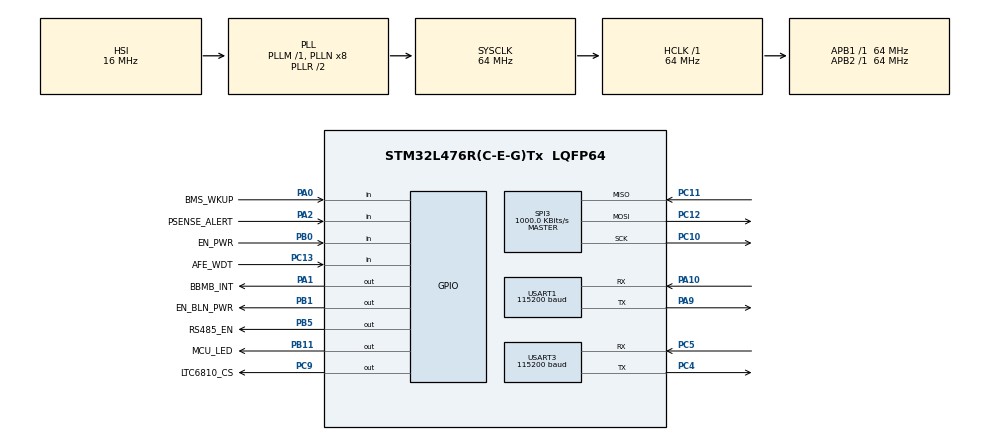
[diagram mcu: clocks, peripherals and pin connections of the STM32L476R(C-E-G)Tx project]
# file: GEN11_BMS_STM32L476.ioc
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CRC.InputDataFormat=CRC_INPUTDATA_FORMAT_WORDS
CRC.InputDataInversionMode=CRC_INPUTDATA_INVERSION_NONE
CRC.OutputDataInversionMode=CRC_OUTPUTDATA_INVERSION_DISABLE
Dma.Request0=USART1_RX
Dma.Request1=USART1_TX
Dma.USART1_RX.0.Direction=DMA_PERIPH_TO_MEMORY
Dma.USART1_RX.0.Instance=DMA1_Channel5
Dma.USART1_RX.0.MemDataAlignment=DMA_MDATAALIGN_BYTE
Dma.USART1_RX.0.MemInc=DMA_MINC_ENABLE
Dma.USART1_RX.0.Mode=DMA_CIRCULAR
Dma.USART1_RX.0.PeriphDataAlignment=DMA_PDATAALIGN_BYTE
Dma.USART1_RX.0.PeriphInc=DMA_PINC_DISABLE
Dma.USART1_RX.0.Priority=DMA_PRIORITY_HIGH
Dma.USART1_TX.1.Direction=DMA_MEMORY_TO_PERIPH
Dma.USART1_TX.1.Instance=DMA1_Channel4
Dma.USART1_TX.1.MemDataAlignment=DMA_MDATAALIGN_BYTE
Dma.USART1_TX.1.MemInc=DMA_MINC_ENABLE
Dma.USART1_TX.1.Mode=DMA_NORMAL
Dma.USART1_TX.1.PeriphDataAlignment=DMA_PDATAALIGN_BYTE
Dma.USART1_TX.1.PeriphInc=DMA_PINC_DISABLE
Dma.USART1_TX.1.Priority=DMA_PRIORITY_HIGH
FREERTOS.INCLUDE_vTaskDelayUntil=1
FREERTOS.INCLUDE_xTaskGetCurrentTaskHandle=1
FREERTOS.INCLUDE_xTaskGetHandle=1
FREERTOS.Tasks01=defaultTask,0,512,StartDefaultTask,Default,NULL,Dynamic,NULL,NULL
FREERTOS.configMAX_TASK_NAME_LEN=32
FREERTOS.configMINIMAL_STACK_SIZE=512
FREERTOS.configTIMER_TASK_PRIORITY=5
FREERTOS.configTOTAL_HEAP_SIZE=25000
FREERTOS.configUSE_COUNTING_SEMAPHORES=1
FREERTOS.configUSE_NEWLIB_REENTRANT=1
FREERTOS.configUSE_TIMERS=1
Mcu.Family=STM32L4
Mcu.Name=STM32L476R(C-E-G)Tx
Mcu.Package=LQFP64
NVIC.DMA1_Channel4_IRQn=true\:5\:0\:false\:false\:true\:true\:false\:true\:true
NVIC.DMA1_Channel5_IRQn=true\:5\:0\:false\:false\:true\:true\:false\:true\:true
NVIC.PriorityGroup=NVIC_PRIORITYGROUP_4
NVIC.TIM6_DAC_IRQn=true\:15\:0\:false\:false\:true\:false\:false\:true\:true
NVIC.TIM7_IRQn=true\:5\:0\:false\:false\:true\:true\:true\:true\:true
NVIC.TimeBase=TIM6_DAC_IRQn
NVIC.TimeBaseIP=TIM6
NVIC.USART1_IRQn=true\:5\:0\:false\:false\:true\:true\:true\:true\:true
NVIC.USART3_IRQn=true\:5\:0\:false\:false\:true\:true\:true\:true\:true
PA0.GPIO_Label=BMS_WKUP
PA0.Signal=GPIO_Input
PA1.GPIO_Label=BBMB_INT
PA1.Signal=GPIO_Output
PA10.Mode=Asynchronous
PA10.Signal=USART1_RX
PA14\ (JTCK-SWCLK).Signal=SYS_JTCK-SWCLK
PA15\ (JTDI).Signal=SYS_JTDI
PA2.GPIO_Label=PSENSE_ALERT
PA2.Signal=GPIO_Input
PA9.Mode=Asynchronous
PA9.Signal=USART1_TX
PB0.GPIO_Label=EN_PWR
PB0.Signal=GPIO_Input
PB1.GPIO_Label=EN_BLN_PWR
PB1.Signal=GPIO_Output
PB11.GPIO_Label=MCU_LED
PB11.Signal=GPIO_Output
PB3\ (JTDO-TRACESWO).Signal=SYS_JTDO-SWO
PB4\ (NJTRST).Signal=SYS_JTRST
PB5.GPIO_Label=RS485_EN
PB5.Signal=GPIO_Output
PC10.Mode=Full_Duplex_Master
PC10.Signal=SPI3_SCK
PC11.Mode=Full_Duplex_Master
PC11.Signal=SPI3_MISO
PC12.Mode=Full_Duplex_Master
PC12.Signal=SPI3_MOSI
PC13.GPIO_Label=AFE_WDT
PC13.Signal=GPIO_Input
PC4.Mode=Asynchronous
PC4.Signal=USART3_TX
PC5.Mode=Asynchronous
PC5.Signal=USART3_RX
PC9.GPIO_Label=LTC6810_CS
PC9.Signal=GPIO_Output
ProjectManager.HeapSize=0x200
ProjectManager.StackSize=0x400
ProjectManager.TargetToolchain=STM32CubeIDE
RCC.ADCFreq_Value=64000000
RCC.AHBFreq_Value=64000000
RCC.APB1Freq_Value=64000000
RCC.APB1TimFreq_Value=64000000
RCC.APB2Freq_Value=64000000
RCC.APB2TimFreq_Value=64000000
RCC.CortexFreq_Value=64000000
RCC.HCLKFreq_Value=64000000
RCC.HSE_VALUE=8000000
RCC.HSI_VALUE=16000000
RCC.LSE_VALUE=32768
RCC.MSI_VALUE=4000000
RCC.PLLSourceVirtual=RCC_PLLSOURCE_HSI
RCC.SYSCLKFreq_VALUE=64000000
RCC.SYSCLKSource=RCC_SYSCLKSOURCE_PLLCLK
RCC.USBFreq_Value=64000000
RCC.VCOOutputFreq_Value=128000000
SPI3.BaudRatePrescaler=SPI_BAUDRATEPRESCALER_64
SPI3.CLKPhase=SPI_PHASE_2EDGE
SPI3.CLKPolarity=SPI_POLARITY_HIGH
SPI3.CalculateBaudRate=1000.0 KBits/s
SPI3.DataSize=SPI_DATASIZE_8BIT
SPI3.Direction=SPI_DIRECTION_2LINES
SPI3.Mode=SPI_MODE_MASTER
SPI3.VirtualType=VM_MASTER
TIM7.AutoReloadPreload=TIM_AUTORELOAD_PRELOAD_ENABLE
TIM7.Period=2000
TIM7.Prescaler=64000
USART1.AutoBaudRateEnableParam=UART_ADVFEATURE_AUTOBAUDRATE_DISABLE
USART1.BaudRate=115200
USART1.VirtualMode-Asynchronous=VM_ASYNC
USART3.BaudRate=115200
USART3.VirtualMode-Asynchronous=VM_ASYNC
VP_CRC_VS_CRC.Mode=CRC_Activate
VP_FREERTOS_VS_CMSIS_V1.Mode=CMSIS_V1
VP_SYS_VS_tim6.Mode=TIM6
VP_TIM7_VS_ClockSourceINT.Mode=Enable_Timer
board=custom

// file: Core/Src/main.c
/* USER CODE BEGIN Header */
/**
  ******************************************************************************
  * @file           : main.c
  * @brief          : Main program body
  ******************************************************************************
  * @attention
  *
  * Copyright (c) 2022 STMicroelectronics.
  * All rights reserved.
  *
  * This software is licensed under terms that can be found in the LICENSE file
  * in the root directory of this software component.
  * If no LICENSE file comes with this software, it is provided AS-IS.
  *
  ******************************************************************************
  */
/* USER CODE END Header */
#include "main.h"
#include "cmsis_os.h"

/* USER CODE BEGIN Includes */
#include "buart.h"
#include "btcp.h"
#include "protocol_ids.h"
#include "batteryEKF.h"
#include "timers.h"
#include "bms.h"

/* USER CODE END Includes */

/* USER CODE BEGIN PD */
// -------------- NEED TO UPDATE FOR EVERY BMS BEFORE FLASHING --------------//
#define THIS_MODULE_ID 0
// ^^^^^^^^^^^^^^ NEED TO UPDATE FOR EVERY BMS BEFORE FLASHING ^^^^^^^^^^^^^^//

#define NUM_CELLS 5 //have to make sure is the same as NUM_14P_UNITS in batteryEKF.h
#define NUM_TEMP_SENSE 3
#define TEMP_CORRECTION_MULTIPLIER 1.0
#define TEMP_CORRECTION_OFFSET 0.0
#define SEND_PERIOD 200
#define MEAS_PERIOD 200

#define TCP_ID BMS_ID
#define LTC6810_INTERVAL 100 //Interval of reading LTC6810 measurements

#define PWR_EN_HACK 1 //Hack where the gate of Q3 is connected to 12V to only turn on Q2 when 12V is present. Also, EN_PWR is set as an input instead of output as it should.
/* USER CODE END PD */

 CRC_HandleTypeDef hcrc;

SPI_HandleTypeDef hspi3;

TIM_HandleTypeDef htim7;

UART_HandleTypeDef huart1;
UART_HandleTypeDef huart3;
DMA_HandleTypeDef hdma_usart1_rx;
DMA_HandleTypeDef hdma_usart1_tx;

osThreadId defaultTaskHandle;
/* USER CODE BEGIN PV */
B_uartHandle_t* buart;
B_tcpHandle_t* btcp;
Bms bms;

//--- SOC ---//
EKF_Battery inBattery;
long tickLastMeasurement[NUM_CELLS]; //Contains the tick value of the last measurement sent for every cell

uint8_t dataToSend[16]; //data organized by function [LTC6810CommandGenerate]
int messageInBinary; //write this in binary. This goes into [LTC6810CommandGenerate]
uint8_t dataToReceive[8] = { 0, 0, 0, 0, 0, 0, 0, 0 };//voltage data from LTC6810 via SPI
/* USER CODE END PV */

void SystemClock_Config(void);
static void MX_GPIO_Init(void);
static void MX_DMA_Init(void);
static void MX_TIM7_Init(void);
static void MX_CRC_Init(void);
static void MX_USART1_UART_Init(void);
static void MX_SPI3_Init(void);
static void MX_USART3_UART_Init(void);
void StartDefaultTask(void const * argument);

/* USER CODE BEGIN 0 */
// For Testing only
//void btcp_sent_thread(void* parameters) {
//	while(1) {
//		uint8_t msg[] = {1, 2, 3, 4};
//		B_tcpSend(btcp, msg, sizeof(msg));
//	}
//}
/* USER CODE END 0 */

int main(void)
{

  /* MCU Configuration--------------------------------------------------------*/

  /* Reset of all peripherals, Initializes the Flash interface and the Systick. */
  HAL_Init();

  /* Configure the system clock */
  SystemClock_Config();

  /* Initialize all configured peripherals */
  MX_GPIO_Init();
  MX_DMA_Init();
  MX_TIM7_Init();
  MX_CRC_Init();
  MX_USART1_UART_Init();
  MX_SPI3_Init();
  MX_USART3_UART_Init();
  /* USER CODE BEGIN 2 */

  //--- MCU OK LED ---//
  NVIC_EnableIRQ(TIM7_IRQn);
  HAL_TIM_Base_Start_IT((TIM_HandleTypeDef*) &htim7); //Blink LED to show that CPU is still alive

  //--- FREERTOS ---//

  /* USER CODE END 2 */

  /* USER CODE BEGIN RTOS_QUEUES */
  /* add queues, ... */
//#define DEFAULT_TASK
#ifdef DEFAULT_TASK

  /* USER CODE END RTOS_QUEUES */

  /* Create the thread(s) */
  /* definition and creation of defaultTask */
  osThreadDef(defaultTask, StartDefaultTask, osPriorityNormal, 0, 512);
  defaultTaskHandle = osThreadCreate(osThread(defaultTask), NULL);

  /* USER CODE BEGIN RTOS_THREADS */
  /* add threads, ... */
#endif
  //--- COMMS ---//
  buart = B_uartStart(&huart1);
  btcp = B_tcpStart(BMS_ID, &buart, buart, 1, &hcrc);

  GPIO_TypeDef* spi_cs_ports[] = {[0 ... (BMS_NUM_BMS_MODULES-1)] = GPIOC};
  uint16_t spi_cs_pins[] = {[0 ... (BMS_NUM_BMS_MODULES-1)] = GPIO_PIN_9};

  // Initialize and run bms
  bms_init(&bms, &hspi3, spi_cs_ports, spi_cs_pins);
  bms.run(&bms);

// For testing only
//  TaskHandle_t t = NULL;
//	BaseType_t status = xTaskCreate(
//			btcp_sent_thread,  //Function that implements the task.
//			"btcp test run thread",  //Text name for the task.
//			500, 		 //256 words *4(bytes/word) = 1024 bytes allocated for task's stack (note even this size is unnecessary as this thread barely creates any variables)
//			NULL,  //Parameter passed into the task.
//			4,  //Priority at which the task is created.
//			&t//Used to pass out the created task's handle.
//		);
//	configASSERT(status == pdPASS);	// Error checking

  /* USER CODE END RTOS_THREADS */

  /* Start scheduler */
  osKernelStart();

  /* We should never get here as control is now taken by the scheduler */
  /* Infinite loop */
  while (1)
  {

  }
}

void SystemClock_Config(void)
{
  RCC_OscInitTypeDef RCC_OscInitStruct = {0};
  RCC_ClkInitTypeDef RCC_ClkInitStruct = {0};

  /** Configure the main internal regulator output voltage
  */
  if (HAL_PWREx_ControlVoltageScaling(PWR_REGULATOR_VOLTAGE_SCALE1) != HAL_OK)
  {
    Error_Handler();
  }

  /** Initializes the RCC Oscillators according to the specified parameters
  * in the RCC_OscInitTypeDef structure.
  */
  RCC_OscInitStruct.OscillatorType = RCC_OSCILLATORTYPE_HSI;
  RCC_OscInitStruct.HSIState = RCC_HSI_ON;
  RCC_OscInitStruct.HSICalibrationValue = RCC_HSICALIBRATION_DEFAULT;
  RCC_OscInitStruct.PLL.PLLState = RCC_PLL_ON;
  RCC_OscInitStruct.PLL.PLLSource = RCC_PLLSOURCE_HSI;
  RCC_OscInitStruct.PLL.PLLM = 1;
  RCC_OscInitStruct.PLL.PLLN = 8;
  RCC_OscInitStruct.PLL.PLLP = RCC_PLLP_DIV7;
  RCC_OscInitStruct.PLL.PLLQ = RCC_PLLQ_DIV2;
  RCC_OscInitStruct.PLL.PLLR = RCC_PLLR_DIV2;
  if (HAL_RCC_OscConfig(&RCC_OscInitStruct) != HAL_OK)
  {
    Error_Handler();
  }

  /** Initializes the CPU, AHB and APB buses clocks
  */
  RCC_ClkInitStruct.ClockType = RCC_CLOCKTYPE_HCLK|RCC_CLOCKTYPE_SYSCLK
                              |RCC_CLOCKTYPE_PCLK1|RCC_CLOCKTYPE_PCLK2;
  RCC_ClkInitStruct.SYSCLKSource = RCC_SYSCLKSOURCE_PLLCLK;
  RCC_ClkInitStruct.AHBCLKDivider = RCC_SYSCLK_DIV1;
  RCC_ClkInitStruct.APB1CLKDivider = RCC_HCLK_DIV1;
  RCC_ClkInitStruct.APB2CLKDivider = RCC_HCLK_DIV1;

  if (HAL_RCC_ClockConfig(&RCC_ClkInitStruct, FLASH_LATENCY_3) != HAL_OK)
  {
    Error_Handler();
  }
}

static void MX_CRC_Init(void)
{

  hcrc.Instance = CRC;
  hcrc.Init.DefaultPolynomialUse = DEFAULT_POLYNOMIAL_ENABLE;
  hcrc.Init.DefaultInitValueUse = DEFAULT_INIT_VALUE_ENABLE;
  hcrc.Init.InputDataInversionMode = CRC_INPUTDATA_INVERSION_NONE;
  hcrc.Init.OutputDataInversionMode = CRC_OUTPUTDATA_INVERSION_DISABLE;
  hcrc.InputDataFormat = CRC_INPUTDATA_FORMAT_WORDS;
  if (HAL_CRC_Init(&hcrc) != HAL_OK)
  {
    Error_Handler();
  }

}

static void MX_SPI3_Init(void)
{

  /* SPI3 parameter configuration*/
  hspi3.Instance = SPI3;
  hspi3.Init.Mode = SPI_MODE_MASTER;
  hspi3.Init.Direction = SPI_DIRECTION_2LINES;
  hspi3.Init.DataSize = SPI_DATASIZE_8BIT;
  hspi3.Init.CLKPolarity = SPI_POLARITY_HIGH;
  hspi3.Init.CLKPhase = SPI_PHASE_2EDGE;
  hspi3.Init.NSS = SPI_NSS_SOFT;
  hspi3.Init.BaudRatePrescaler = SPI_BAUDRATEPRESCALER_64;
  hspi3.Init.FirstBit = SPI_FIRSTBIT_MSB;
  hspi3.Init.TIMode = SPI_TIMODE_DISABLE;
  hspi3.Init.CRCCalculation = SPI_CRCCALCULATION_DISABLE;
  hspi3.Init.CRCPolynomial = 7;
  hspi3.Init.CRCLength = SPI_CRC_LENGTH_DATASIZE;
  hspi3.Init.NSSPMode = SPI_NSS_PULSE_DISABLE;
  if (HAL_SPI_Init(&hspi3) != HAL_OK)
  {
    Error_Handler();
  }

}

static void MX_TIM7_Init(void)
{

  TIM_MasterConfigTypeDef sMasterConfig = {0};

  htim7.Instance = TIM7;
  htim7.Init.Prescaler = 64000;
  htim7.Init.CounterMode = TIM_COUNTERMODE_UP;
  htim7.Init.Period = 2000;
  htim7.Init.AutoReloadPreload = TIM_AUTORELOAD_PRELOAD_ENABLE;
  if (HAL_TIM_Base_Init(&htim7) != HAL_OK)
  {
    Error_Handler();
  }
  sMasterConfig.MasterOutputTrigger = TIM_TRGO_RESET;
  sMasterConfig.MasterSlaveMode = TIM_MASTERSLAVEMODE_DISABLE;
  if (HAL_TIMEx_MasterConfigSynchronization(&htim7, &sMasterConfig) != HAL_OK)
  {
    Error_Handler();
  }

}

static void MX_USART1_UART_Init(void)
{

  huart1.Instance = USART1;
  huart1.Init.BaudRate = 115200;
  huart1.Init.WordLength = UART_WORDLENGTH_8B;
  huart1.Init.StopBits = UART_STOPBITS_1;
  huart1.Init.Parity = UART_PARITY_NONE;
  huart1.Init.Mode = UART_MODE_TX_RX;
  huart1.Init.HwFlowCtl = UART_HWCONTROL_NONE;
  huart1.Init.OverSampling = UART_OVERSAMPLING_16;
  huart1.Init.OneBitSampling = UART_ONE_BIT_SAMPLE_DISABLE;
  huart1.AdvancedInit.AdvFeatureInit = UART_ADVFEATURE_NO_INIT;
  if (HAL_UART_Init(&huart1) != HAL_OK)
  {
    Error_Handler();
  }

}

static void MX_USART3_UART_Init(void)
{

  huart3.Instance = USART3;
  huart3.Init.BaudRate = 115200;
  huart3.Init.WordLength = UART_WORDLENGTH_8B;
  huart3.Init.StopBits = UART_STOPBITS_1;
  huart3.Init.Parity = UART_PARITY_NONE;
  huart3.Init.Mode = UART_MODE_TX_RX;
  huart3.Init.HwFlowCtl = UART_HWCONTROL_NONE;
  huart3.Init.OverSampling = UART_OVERSAMPLING_16;
  huart3.Init.OneBitSampling = UART_ONE_BIT_SAMPLE_DISABLE;
  huart3.AdvancedInit.AdvFeatureInit = UART_ADVFEATURE_NO_INIT;
  if (HAL_UART_Init(&huart3) != HAL_OK)
  {
    Error_Handler();
  }

}

static void MX_DMA_Init(void)
{

  /* DMA controller clock enable */
  __HAL_RCC_DMA1_CLK_ENABLE();

  /* DMA interrupt init */
  /* DMA1_Channel4_IRQn interrupt configuration */
  HAL_NVIC_SetPriority(DMA1_Channel4_IRQn, 5, 0);
  HAL_NVIC_EnableIRQ(DMA1_Channel4_IRQn);
  /* DMA1_Channel5_IRQn interrupt configuration */
  HAL_NVIC_SetPriority(DMA1_Channel5_IRQn, 5, 0);
  HAL_NVIC_EnableIRQ(DMA1_Channel5_IRQn);

}

static void MX_GPIO_Init(void)
{
  GPIO_InitTypeDef GPIO_InitStruct = {0};

  /* GPIO Ports Clock Enable */
  __HAL_RCC_GPIOC_CLK_ENABLE();
  __HAL_RCC_GPIOA_CLK_ENABLE();
  __HAL_RCC_GPIOB_CLK_ENABLE();

  /*Configure GPIO pin Output Level */
  HAL_GPIO_WritePin(BBMB_INT_GPIO_Port, BBMB_INT_Pin, GPIO_PIN_RESET);

  /*Configure GPIO pin Output Level */
  HAL_GPIO_WritePin(GPIOB, EN_BLN_PWR_Pin|MCU_LED_Pin|RS485_EN_Pin, GPIO_PIN_RESET);

  /*Configure GPIO pin Output Level */
  HAL_GPIO_WritePin(LTC6810_CS_GPIO_Port, LTC6810_CS_Pin, GPIO_PIN_RESET);

  /*Configure GPIO pin : AFE_WDT_Pin */
  GPIO_InitStruct.Pin = AFE_WDT_Pin;
  GPIO_InitStruct.Mode = GPIO_MODE_INPUT;
  GPIO_InitStruct.Pull = GPIO_NOPULL;
  HAL_GPIO_Init(AFE_WDT_GPIO_Port, &GPIO_InitStruct);

  /*Configure GPIO pins : BMS_WKUP_Pin PSENSE_ALERT_Pin */
  GPIO_InitStruct.Pin = BMS_WKUP_Pin|PSENSE_ALERT_Pin;
  GPIO_InitStruct.Mode = GPIO_MODE_INPUT;
  GPIO_InitStruct.Pull = GPIO_NOPULL;
  HAL_GPIO_Init(GPIOA, &GPIO_InitStruct);

  /*Configure GPIO pin : BBMB_INT_Pin */
  GPIO_InitStruct.Pin = BBMB_INT_Pin;
  GPIO_InitStruct.Mode = GPIO_MODE_OUTPUT_PP;
  GPIO_InitStruct.Pull = GPIO_NOPULL;
  GPIO_InitStruct.Speed = GPIO_SPEED_FREQ_LOW;
  HAL_GPIO_Init(BBMB_INT_GPIO_Port, &GPIO_InitStruct);

  /*Configure GPIO pin : EN_PWR_Pin */
  GPIO_InitStruct.Pin = EN_PWR_Pin;
  GPIO_InitStruct.Mode = GPIO_MODE_INPUT;
  GPIO_InitStruct.Pull = GPIO_NOPULL;
  HAL_GPIO_Init(EN_PWR_GPIO_Port, &GPIO_InitStruct);

  /*Configure GPIO pins : EN_BLN_PWR_Pin MCU_LED_Pin RS485_EN_Pin */
  GPIO_InitStruct.Pin = EN_BLN_PWR_Pin|MCU_LED_Pin|RS485_EN_Pin;
  GPIO_InitStruct.Mode = GPIO_MODE_OUTPUT_PP;
  GPIO_InitStruct.Pull = GPIO_NOPULL;
  GPIO_InitStruct.Speed = GPIO_SPEED_FREQ_LOW;
  HAL_GPIO_Init(GPIOB, &GPIO_InitStruct);

  /*Configure GPIO pin : LTC6810_CS_Pin */
  GPIO_InitStruct.Pin = LTC6810_CS_Pin;
  GPIO_InitStruct.Mode = GPIO_MODE_OUTPUT_PP;
  GPIO_InitStruct.Pull = GPIO_NOPULL;
  GPIO_InitStruct.Speed = GPIO_SPEED_FREQ_LOW;
  HAL_GPIO_Init(LTC6810_CS_GPIO_Port, &GPIO_InitStruct);

}

/* USER CODE BEGIN 4 */
void serialParse(B_tcpPacket_t *pkt){
	switch(pkt->senderID){
	  case BBMB_ID: //Parse data from BBMB

		  if (pkt->data[0] == BBMB_BMS_DATA_REQUEST_ID) {

			  // Update Current variable
			  float current = arrayToFloat(pkt->data + 4);
			  bms.set_current(&bms, current);

			  int module_id = pkt->data[1];

			  if (module_id == THIS_MODULE_ID) {
				  /* ================= SOC =================== */
				  float state_of_charges[BMS_MODULE_NUM_STATE_OF_CHARGES];
				  if (bms.get_state_of_charge(&bms, state_of_charges, module_id)) {
					  // Not sure which Module only has 4 cells, commented out for now, assuming they all have 5.
					  // Module x has only 4 cells, so we place a fake SoC of 1.5 (so stategy app can detect it and ignore it) so displays doesn't show the wrong SoC
					  // add fake values for modules missing one cell
					  if (module_id == 5) state_of_charges[4] = 1.5;

					  // Pack state_of_charges into array of uint8_t to be sent to BBMB
					  uint8_t buf_soc[4 + BMS_MODULE_NUM_STATE_OF_CHARGES*sizeof(float)];	//[DATA ID, MODULE ID, SoC group #0, SoC group #1, ... , SoC group #4]
					  buf_soc[0] = BMS_CELL_SOC_ID;
					  buf_soc[1] = module_id;
					  for (int i = 0; i < BMS_MODULE_NUM_STATE_OF_CHARGES; i++)
						  floatToArray(state_of_charges[i], buf_soc + (i + 1) * sizeof(float));
					  HAL_GPIO_WritePin(RS485_EN_GPIO_Port, RS485_EN_Pin, GPIO_PIN_SET); //Enable RS485 driver
					  B_tcpSendBlocking(btcp, buf_soc, sizeof(buf_soc));
					  HAL_GPIO_WritePin(RS485_EN_GPIO_Port, RS485_EN_Pin, GPIO_PIN_RESET); //Disable RS485 driver
				  }

				  /* =============== Temperature ================= */
				  float temperatures[BMS_MODULE_NUM_TEMPERATURES];
				  if (bms.get_temperature(&bms, temperatures, module_id, GET_PAST_AVERAGE)) {
					  uint8_t buf_temp[4 + BMS_MODULE_NUM_TEMPERATURES*sizeof(float)];
					  buf_temp[0] = BMS_CELL_TEMP_ID;
					  buf_temp[1] = module_id;
					  for (int i = 0; i < BMS_MODULE_NUM_TEMPERATURES; i++)
						  floatToArray(temperatures[i], buf_temp + (i + 1) * sizeof(float));
					  HAL_GPIO_WritePin(RS485_EN_GPIO_Port, RS485_EN_Pin, GPIO_PIN_SET); //Enable RS485 driver
					  B_tcpSendBlocking(btcp, buf_temp, sizeof(buf_temp));
					  HAL_GPIO_WritePin(RS485_EN_GPIO_Port, RS485_EN_Pin, GPIO_PIN_RESET); //Disable RS485 driver
				  }

				  /* =============== Voltage ====================== */
				  float voltages[BMS_MODULE_NUM_VOLTAGES];
				  if (bms.get_voltage(&bms, voltages, module_id, GET_PAST_AVERAGE)) {
					  // add fake values for modules missing one cell
					  if (module_id == 5) voltages[4] = 0;

					  uint8_t buf_volt[4 + BMS_MODULE_NUM_VOLTAGES*sizeof(float)];
					  buf_volt[0] = BMS_CELL_VOLT_ID;
					  buf_volt[1] = module_id;
					  for (int i = 0; i < BMS_MODULE_NUM_VOLTAGES; i++)
						  floatToArray(voltages[i], buf_volt + (i + 1) * sizeof(float));
					  HAL_GPIO_WritePin(RS485_EN_GPIO_Port, RS485_EN_Pin, GPIO_PIN_SET); //Enable RS485 driver
					  B_tcpSendBlocking(btcp, buf_volt, sizeof(buf_volt));
					  HAL_GPIO_WritePin(RS485_EN_GPIO_Port, RS485_EN_Pin, GPIO_PIN_RESET); //Disable RS485 driver
				  }
			  }
		  }
		break;
	}
}

void PWR_CHECK_Timer(TimerHandle_t xTimer){
	uint8_t WKUP_signal = HAL_GPIO_ReadPin(BMS_WKUP_GPIO_Port, BMS_WKUP_Pin);

	if (PWR_EN_HACK == 0){ //If we have the hack on power enable (Vbatt transistor gate connected to 12V input)
		HAL_GPIO_WritePin(EN_PWR_GPIO_Port, EN_PWR_Pin, WKUP_signal);
	}

	/*
	 * As per ASC regulations, at startup and when the car is sleeping, the BMS needs to be powered by the 12V supplemental battery.
	 * During norminal operation, the BMS powers itself from the battery module it is connected to.
	 * The GEN11 BMS has a PFET and ideal diode circuit to switch from 12V to battery module power.
	 *
	 * The BBMB has a BMS_WKUP signal. In ASC mode, the BMS powers itself from the battery module any time this signal is HIGH.
	 * Thus, when supplemental battery is removed, the BMS_WKUP signal is LOW and the BMS stops being powered by the battery module, effectively turning itself off.
	 * *
	 * Note that for this to work, the header P1 (top left of the BMS board) needs to be left open (not shorted). Otherwise, the
	 * BMS will be powered by the module indefinitely (even when 12V is removed).
	 */
}

/* USER CODE END 4 */

void StartDefaultTask(void const * argument)
{
  for(;;)
  {
  }
}

void HAL_TIM_PeriodElapsedCallback(TIM_HandleTypeDef *htim)
{
  if (htim->Instance == TIM6) {
    HAL_IncTick();
  }
  /* USER CODE BEGIN Callback 1 */
  else if (htim->Instance == TIM7){
	HAL_GPIO_TogglePin(MCU_LED_GPIO_Port, MCU_LED_Pin);
  }
  /* USER CODE END Callback 1 */
}

void Error_Handler(void)
{
  __disable_irq();
  while (1)
  {
  }
}
